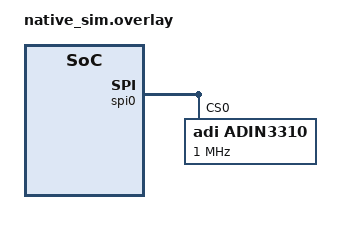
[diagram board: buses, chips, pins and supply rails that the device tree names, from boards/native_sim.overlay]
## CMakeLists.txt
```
# Copyright (c) 2026 Richard Osterloh
# SPDX-License-Identifier: Apache-2.0

cmake_minimum_required(VERSION 3.20.0)
find_package(Zephyr REQUIRED HINTS $ENV{ZEPHYR_BASE})
project(adin3310_driver_test)

target_sources(app PRIVATE src/main.c src/adin3310_emul.c)
```

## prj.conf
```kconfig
CONFIG_ZTEST=y
CONFIG_EMUL=y
CONFIG_SPI=y
CONFIG_ADIN3310=y
```

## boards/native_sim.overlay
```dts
/*
 * Copyright (c) 2026 Richard Osterloh
 * SPDX-License-Identifier: Apache-2.0
 */

/ {
	aliases {
		adin3310-0 = &adin3310;
	};
};

&spi0 {
	adin3310: adin3310@0 {
		compatible = "adi,adin3310";
		reg = <0>;
		spi-max-frequency = <1000000>;
		port-count = <3>;
		reset-assert-us = <1>;
		reset-deassert-us = <1>;
	};
};
```

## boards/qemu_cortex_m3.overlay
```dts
/*
 * Copyright (c) 2026 Richard Osterloh
 * SPDX-License-Identifier: Apache-2.0
 */

/ {
	aliases {
		adin3310-0 = &adin3310;
	};

	fake_spi: spi@200 {
		compatible = "zephyr,spi-emul-controller";
		reg = <0x200 4>;
		clock-frequency = <50000000>;
		#address-cells = <1>;
		#size-cells = <0>;
		status = "okay";

		adin3310: adin3310@0 {
			compatible = "adi,adin3310";
			reg = <0>;
			spi-max-frequency = <1000000>;
			port-count = <3>;
			reset-assert-us = <1>;
			reset-deassert-us = <1>;
		};
	};
};
```

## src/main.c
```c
/*
 * Copyright (c) 2026 Richard Osterloh
 * SPDX-License-Identifier: Apache-2.0
 */

#include <errno.h>

#include <zephyr/device.h>
#include <zephyr/drivers/ethernet/adin3310.h>
#include <zephyr/ztest.h>

#define ADIN3310_NODE DT_ALIAS(adin3310_0)

static const struct device *const adin3310 = DEVICE_DT_GET(ADIN3310_NODE);

ZTEST_SUITE(adin3310_driver, NULL, NULL, NULL, NULL, NULL);

ZTEST(adin3310_driver, test_device_ready_and_port_count)
{
	uint8_t port_count;

	zassert_true(device_is_ready(adin3310), "ADIN3310 device is not ready");
	zassert_ok(adin3310_get_port_count(adin3310, &port_count), "port count read failed");
	zassert_equal(port_count, ADIN3310_PORT_COUNT, "unexpected ADIN3310 port count");
}

ZTEST(adin3310_driver, test_management_transfer)
{
	const uint8_t tx[] = {0xa5, 0x5a, 0x03, 0x10};
	uint8_t rx[sizeof(tx)];

	zassert_ok(adin3310_transfer(adin3310, tx, rx, sizeof(tx)), "SPI transfer failed");
	zassert_mem_equal(rx, tx, sizeof(rx), "emulated management response mismatch");
}

ZTEST(adin3310_driver, test_management_transfer_rejects_bad_arguments)
{
	uint8_t byte = 0;

	zassert_equal(adin3310_transfer(NULL, &byte, &byte, sizeof(byte)), -EINVAL,
		      "NULL device should be rejected");
	zassert_equal(adin3310_transfer(adin3310, NULL, &byte, sizeof(byte)), -EINVAL,
		      "NULL TX buffer should be rejected");
	zassert_equal(adin3310_transfer(adin3310, &byte, NULL, sizeof(byte)), -EINVAL,
		      "NULL RX buffer should be rejected");
	zassert_equal(adin3310_transfer(adin3310, &byte, &byte, 0), -EINVAL,
		      "zero-length transfer should be rejected");
}
```

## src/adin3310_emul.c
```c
/*
 * Copyright (c) 2026 Richard Osterloh
 * SPDX-License-Identifier: Apache-2.0
 */

#define DT_DRV_COMPAT adi_adin3310

#include <errno.h>
#include <string.h>

#include <zephyr/drivers/emul.h>
#include <zephyr/drivers/spi.h>
#include <zephyr/drivers/spi_emul.h>

static int adin3310_emul_copy_tx(const struct spi_buf_set *tx_bufs, uint8_t *tx, size_t tx_len)
{
	size_t offset = 0;

	if (tx_bufs == NULL) {
		return -EINVAL;
	}

	for (size_t i = 0; i < tx_bufs->count; i++) {
		const struct spi_buf *buf = &tx_bufs->buffers[i];

		if (buf->buf == NULL || offset + buf->len > tx_len) {
			return -EINVAL;
		}

		memcpy(&tx[offset], buf->buf, buf->len);
		offset += buf->len;
	}

	return (int)offset;
}

static int adin3310_emul_copy_rx(const struct spi_buf_set *rx_bufs, const uint8_t *rx,
				 size_t rx_len)
{
	size_t offset = 0;

	if (rx_bufs == NULL) {
		return 0;
	}

	for (size_t i = 0; i < rx_bufs->count; i++) {
		const struct spi_buf *buf = &rx_bufs->buffers[i];

		if (buf->buf == NULL || offset + buf->len > rx_len) {
			return -EINVAL;
		}

		memcpy(buf->buf, &rx[offset], buf->len);
		offset += buf->len;
	}

	return 0;
}

static int adin3310_emul_io_spi(const struct emul *target, const struct spi_config *config,
				const struct spi_buf_set *tx_bufs,
				const struct spi_buf_set *rx_bufs)
{
	ARG_UNUSED(target);
	ARG_UNUSED(config);

	uint8_t tx[64] = {0};
	int tx_len = adin3310_emul_copy_tx(tx_bufs, tx, sizeof(tx));

	if (tx_len <= 0) {
		return -EINVAL;
	}

	return adin3310_emul_copy_rx(rx_bufs, tx, tx_len);
}

static int adin3310_emul_init(const struct emul *target, const struct device *parent)
{
	ARG_UNUSED(target);
	ARG_UNUSED(parent);

	return 0;
}

static const struct spi_emul_api adin3310_emul_api = {
	.io = adin3310_emul_io_spi,
};

#define ADIN3310_EMUL_DEFINE(inst)                                                                 \
	EMUL_DT_INST_DEFINE(inst, adin3310_emul_init, NULL, NULL, &adin3310_emul_api, NULL)

DT_INST_FOREACH_STATUS_OKAY(ADIN3310_EMUL_DEFINE)
```
